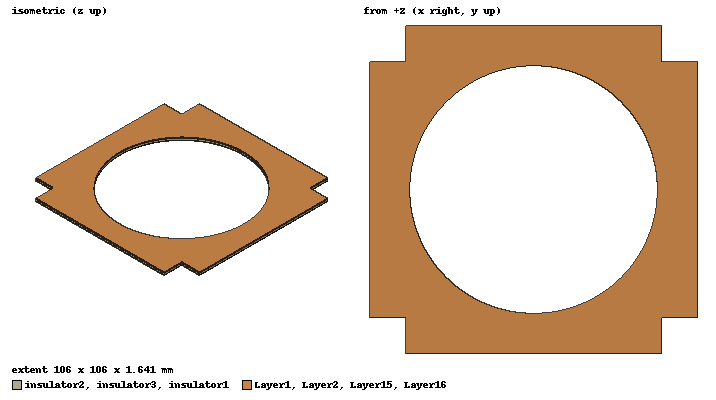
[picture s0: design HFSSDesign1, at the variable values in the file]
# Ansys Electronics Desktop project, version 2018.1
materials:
  vacuum: permittivity=1
  copper: permeability=0.999991 conductivity=58000000
  FR4_epoxy: permittivity=4.4 dielectric_loss_tangent=0.02

design HFSSDesign1 (HFSS, DrivenModal, model units mm)
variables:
  zC = -1
  p = 0
  radius = 40mm
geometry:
  Layer1 [copper] = box(corner=(-53mm, -53mm, 0mm-p*20*10mm+(1-p)*1.641mm), size=(106mm, 106mm, -0.0356mm))
  insulator1 [FR4_epoxy] = box(corner=(-53mm, -53mm, -0.0356mm-p*20*10mm+(1-p)*1.641mm), size=(106mm, 106mm, -0.1702mm))
  Layer15 [copper] = box(corner=(-53mm, -53mm, -0.2058mm-p*20*10mm+(1-p)*1.641mm), size=(106mm, 106mm, -0.0178mm))
  insulator2 [FR4_epoxy] = box(corner=(-53mm, -53mm, -0.2236mm-p*20*10mm+(1-p)*1.641mm), size=(106mm, 106mm, -1.1938mm))
  Layer16 [copper] = box(corner=(-53mm, -53mm, -1.4174mm-p*20*10mm+(1-p)*1.641mm), size=(106mm, 106mm, -0.0178mm))
  insulator3 [FR4_epoxy] = box(corner=(-53mm, -53mm, -1.4352mm-p*20*10mm+(1-p)*1.641mm), size=(106mm, 106mm, -0.1702mm))
  Layer2 [copper] = box(corner=(-53mm, -53mm, -1.6054mm-p*20*10mm+(1-p)*1.641mm), size=(106mm, 106mm, -0.0356mm))
  Corner1 = box(corner=(53mm, 53mm, 0mm-p*20*10mm-(p)*1.641mm), size=(-11.5mm, -11.5mm, 1.641mm))
  Corner2 = box(corner=(53mm, -53mm, 0mm-p*20*10mm-(p)*1.641mm), size=(-11.5mm, 11.5mm, 1.641mm))
  Corner3 = box(corner=(-53mm, -53mm, 0mm-p*20*10mm-(p)*1.641mm), size=(11.5mm, 11.5mm, 1.641mm))
  Corner4 = box(corner=(-53mm, 53mm, 0mm-p*20*10mm-(p)*1.641mm), size=(11.5mm, -11.5mm, 1.641mm))
  Cylinder1 = cylinder(axis=Z, base_centre=(0mm, 0mm, 0mm-p*20*10mm-(p)*1.641mm), radius=radius, height=1.641mm)
  Corner1_1 = Corner1.copy()
  Corner2_1 = Corner2.copy()
  Corner3_1 = Corner3.copy()
  Corner4_1 = Corner4.copy()
  Cylinder1_1 = Cylinder1.copy()
  insulator1.subtract(Corner1_1, Corner2_1, Corner3_1, Corner4_1, Cylinder1_1)
  Corner1_2 = Corner1.copy()
  Corner2_2 = Corner2.copy()
  Corner3_2 = Corner3.copy()
  Corner4_2 = Corner4.copy()
  Cylinder1_2 = Cylinder1.copy()
  insulator2.subtract(Corner1_2, Corner2_2, Corner3_2, Corner4_2, Cylinder1_2)
  Corner1_3 = Corner1.copy()
  Corner2_3 = Corner2.copy()
  Corner3_3 = Corner3.copy()
  Corner4_3 = Corner4.copy()
  Cylinder1_3 = Cylinder1.copy()
  insulator3.subtract(Corner1_3, Corner2_3, Corner3_3, Corner4_3, Cylinder1_3)
  Corner1_4 = Corner1.copy()
  Corner2_4 = Corner2.copy()
  Corner3_4 = Corner3.copy()
  Corner4_4 = Corner4.copy()
  Cylinder1_4 = Cylinder1.copy()
  Layer1.subtract(Corner1_4, Corner2_4, Corner3_4, Corner4_4, Cylinder1_4)
  Corner1_5 = Corner1.copy()
  Corner2_5 = Corner2.copy()
  Corner3_5 = Corner3.copy()
  Corner4_5 = Corner4.copy()
  Cylinder1_5 = Cylinder1.copy()
  Layer15.subtract(Corner1_5, Corner2_5, Corner3_5, Corner4_5, Cylinder1_5)
  Corner1_6 = Corner1.copy()
  Corner2_6 = Corner2.copy()
  Corner3_6 = Corner3.copy()
  Corner4_6 = Corner4.copy()
  Cylinder1_6 = Cylinder1.copy()
  Layer16.subtract(Corner1_6, Corner2_6, Corner3_6, Corner4_6, Cylinder1_6)
  Layer2.subtract(Corner1..Corner4, Cylinder1)
